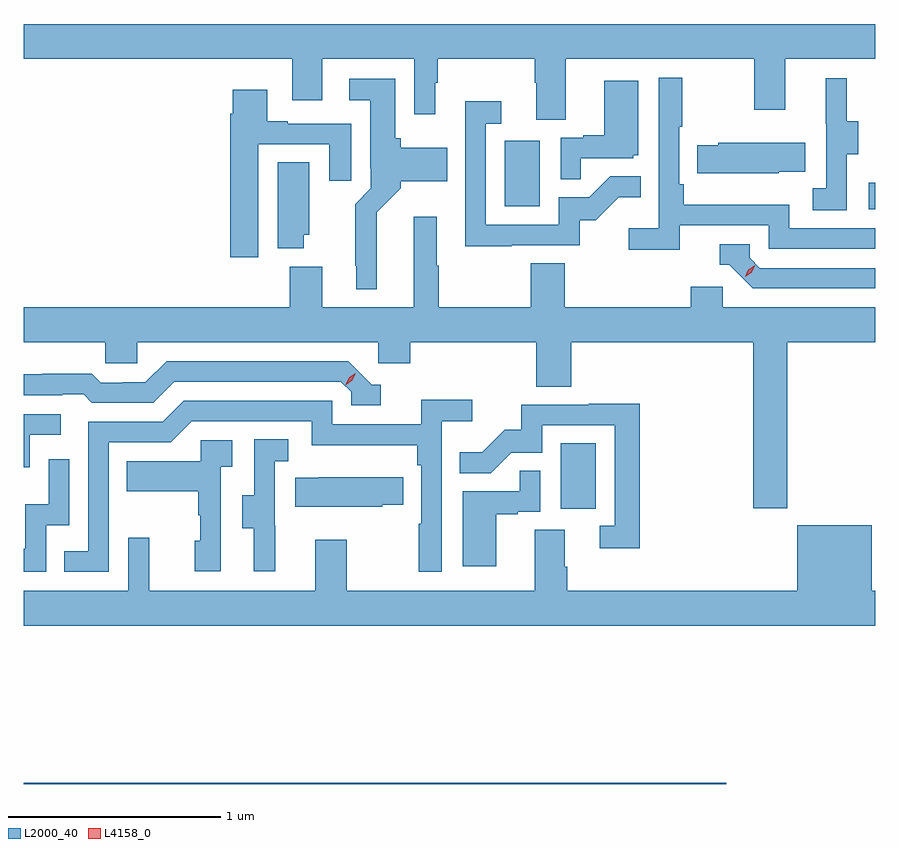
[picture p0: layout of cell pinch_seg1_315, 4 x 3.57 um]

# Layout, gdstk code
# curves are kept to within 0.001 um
import gdstk
lib = gdstk.Library(unit=1e-6, precision=1e-09)
def R(c, l, rs):  # rectangles x0, y0, x1, y1
    for r in rs: c.add(gdstk.rectangle(r[:2], r[2:], *l))
def P(c, l, *ps):  # polygons
    for p in ps: c.add(gdstk.Polygon(p, *l))
L2000_40 = (2000, 40)
L4158_0 = (4158, 0)

pinch_seg1_315 = lib.new_cell('pinch_seg1_315')
R(pinch_seg1_315, L2000_40, [(987.124,541.664,990.424,541.67), (989.648,542.958,989.812,543.265), (991.095,544.365,991.124,544.49), (989.384,544.38,989.548,544.687)])
P(pinch_seg1_315, L2000_40, [(987.124,545.072),(988.385,545.072),(988.385,544.878),(988.525,544.878),(988.525,545.072),(988.959,545.072),(988.959,544.812),(989.056,544.812),(989.056,544.96),(989.068,544.96),(989.068,545.072),(989.524,545.072),(989.524,544.96),(989.531,544.96),(989.531,544.786),(989.671,544.786),(989.671,545.072),(990.556,545.072),(990.556,544.833),(990.703,544.833),(990.703,545.072),(991.124,545.072),(991.124,545.236),(987.124,545.236)],
  [(990.206,544.29),(990.624,544.29),(990.624,544.179),(991.124,544.179),(991.124,544.275),(990.72,544.275),(990.72,544.387),(990.224,544.387),(990.224,544.483),(990.204,544.483),(990.204,544.753),(990.217,544.753),(990.217,544.984),(990.108,544.984),(990.108,544.276),(989.967,544.276),(989.967,544.174),(990.206,544.174)],
  [(990.99,544.624),(991.045,544.624),(991.045,544.779),(990.991,544.779),(990.991,544.981),(990.893,544.981),(990.893,544.767),(990.894,544.767),(990.894,544.463),(990.831,544.463),(990.831,544.36),(990.99,544.36)],
  [(988.783,544.352),(988.896,544.465),(988.896,544.496),(989.113,544.496),(989.113,544.654),(988.896,544.654),(988.896,544.698),(988.87,544.698),(988.87,544.978),(988.653,544.978),(988.653,544.877),(988.751,544.877),(988.751,544.558),(988.755,544.558),(988.755,544.464),(988.681,544.39),(988.681,544.099),(988.685,544.099),(988.685,543.989),(988.783,543.989)],
  [(989.741,544.605),(989.988,544.605),(989.988,544.62),(990.01,544.62),(990.01,544.969),(989.852,544.969),(989.852,544.714),(989.753,544.714),(989.753,544.701),(989.646,544.701),(989.646,544.507),(989.741,544.507)],
  [(988.225,544.671),(988.559,544.671),(988.559,544.5),(988.663,544.5),(988.663,544.767),(988.363,544.767),(988.363,544.78),(988.267,544.78),(988.267,544.927),(988.106,544.927),(988.106,544.814),(988.094,544.814),(988.094,544.14),(988.225,544.14)],
  [(989.417,544.197),(989.736,544.197),(989.736,544.314),(989.812,544.314),(989.919,544.421),(990.023,544.421),(990.023,544.52),(989.879,544.52),(989.781,544.422),(989.637,544.422),(989.637,544.293),(989.295,544.293),(989.295,544.767),(989.368,544.767),(989.368,544.873),(989.199,544.873),(989.198,544.192),(989.417,544.192)],
  [(990.672,544.541),(990.797,544.541),(990.797,544.678),(990.387,544.678),(990.387,544.665),(990.289,544.665),(990.289,544.535),(990.672,544.535)],
  [(988.438,544.245),(988.465,544.245),(988.465,544.586),(988.316,544.586),(988.316,544.181),(988.438,544.181)],
  [(990.711,543.74),(991.124,543.74),(991.124,543.904),(990.408,543.904),(990.408,544.002),(990.257,544.002),(990.257,543.904),(989.666,543.904),(989.666,544.112),(989.506,544.112),(989.506,543.904),(989.073,543.904),(989.073,544.1),(989.065,544.1),(989.065,544.33),(988.955,544.33),(988.955,543.904),(988.525,543.904),(988.525,544.096),(988.373,544.096),(988.373,543.904),(987.124,543.904),(987.124,543.74),(987.507,543.74),(987.507,543.642),(987.657,543.642),(987.657,543.74),(988.788,543.74),(988.788,543.642),(988.94,543.642),(988.94,543.74),(989.531,543.74),(989.531,543.532),(989.696,543.532),(989.696,543.74),(990.551,543.74),(990.551,542.961),(990.711,542.961)],
  [(991.124,544.089),(990.582,544.089),(990.534,544.137),(990.534,544.2),(990.395,544.2),(990.395,544.104),(990.438,544.104),(990.549,543.993),(991.124,543.993)],
  [(988.801,543.54),(988.758,543.54),(988.647,543.651),(987.794,543.651),(987.695,543.552),(987.588,543.552),(987.588,543.549),(987.485,543.549),(987.443,543.592),(987.21,543.592),(987.21,543.589),(987.124,543.589),(987.124,543.492),(987.305,543.492),(987.305,543.495),(987.404,543.495),(987.443,543.456),(987.732,543.456),(987.831,543.555),(988.614,543.555),(988.662,543.507),(988.662,543.444),(988.801,543.444)],
  [(987.522,543.27),(987.813,543.27),(987.912,543.369),(988.476,543.369),(988.476,543.257),(988.972,543.257),(988.972,543.161),(988.992,543.161),(988.992,542.888),(988.98,542.888),(988.98,542.661),(989.088,542.661),(989.088,543.368),(989.23,543.368),(989.23,543.47),(988.991,543.47),(988.991,543.354),(988.572,543.354),(988.572,543.465),(987.875,543.465),(987.776,543.366),(987.426,543.366),(987.426,542.757),(987.313,542.757),(987.313,542.661),(987.522,542.661)],
  [(990.017,543.452),(989.779,543.452),(989.779,543.447),(989.461,543.447),(989.461,543.33),(989.384,543.33),(989.277,543.223),(989.173,543.223),(989.173,543.124),(989.317,543.124),(989.415,543.222),(989.559,543.222),(989.559,543.351),(989.901,543.351),(989.901,542.877),(989.829,542.877),(989.829,542.772),(990.017,542.772)],
  [(987.15,543.306),(987.298,543.306),(987.298,543.402),(987.124,543.402),(987.124,543.153),(987.15,543.153)],
  [(988.304,542.877),(988.302,542.877),(988.302,543.181),(988.366,543.181),(988.366,543.284),(988.206,543.284),(988.206,543.021),(988.151,543.021),(988.151,542.866),(988.205,542.866),(988.205,542.664),(988.304,542.664)],
  [(988.05,543.155),(988.102,543.155),(988.102,543.279),(987.954,543.279),(987.954,543.181),(987.607,543.181),(987.607,543.041),(987.942,543.041),(987.942,542.927),(987.952,542.927),(987.952,542.808),(987.926,542.808),(987.926,542.664),(988.05,542.664)],
  [(987.228,542.88),(987.336,542.88),(987.336,543.19),(987.24,543.19),(987.24,542.978),(987.131,542.978),(987.131,542.77),(987.124,542.77),(987.124,542.661),(987.228,542.661)],
  [(989.344,542.931),(989.444,542.931),(989.444,542.943),(989.55,542.943),(989.55,543.137),(989.455,543.137),(989.455,543.039),(989.186,543.039),(989.186,542.688),(989.344,542.688)],
  [(988.809,542.977),(988.907,542.977),(988.907,543.106),(988.507,543.106),(988.507,543.103),(988.399,543.103),(988.399,542.966),(988.809,542.966)],
  [(991.124,542.572),(991.108,542.572),(991.108,542.881),(990.758,542.881),(990.758,542.572),(989.678,542.572),(989.678,542.684),(989.665,542.684),(989.665,542.858),(989.525,542.858),(989.525,542.572),(988.641,542.572),(988.641,542.812),(988.493,542.812),(988.493,542.572),(987.713,542.572),(987.713,542.821),(987.615,542.821),(987.615,542.572),(987.124,542.572),(987.124,542.408),(991.124,542.408)])
P(pinch_seg1_315, L4158_0, [(988.637,543.541),(988.637,543.542),(988.653,543.575),(988.683,543.595),(988.683,543.595),(988.683,543.595),(988.668,543.562),(988.638,543.541)],
  [(990.513,544.049),(990.513,544.049),(990.529,544.082),(990.56,544.101),(990.56,544.101),(990.56,544.101),(990.544,544.069),(990.513,544.049)])

lib.write_gds('pinch_seg1_315.gds')
